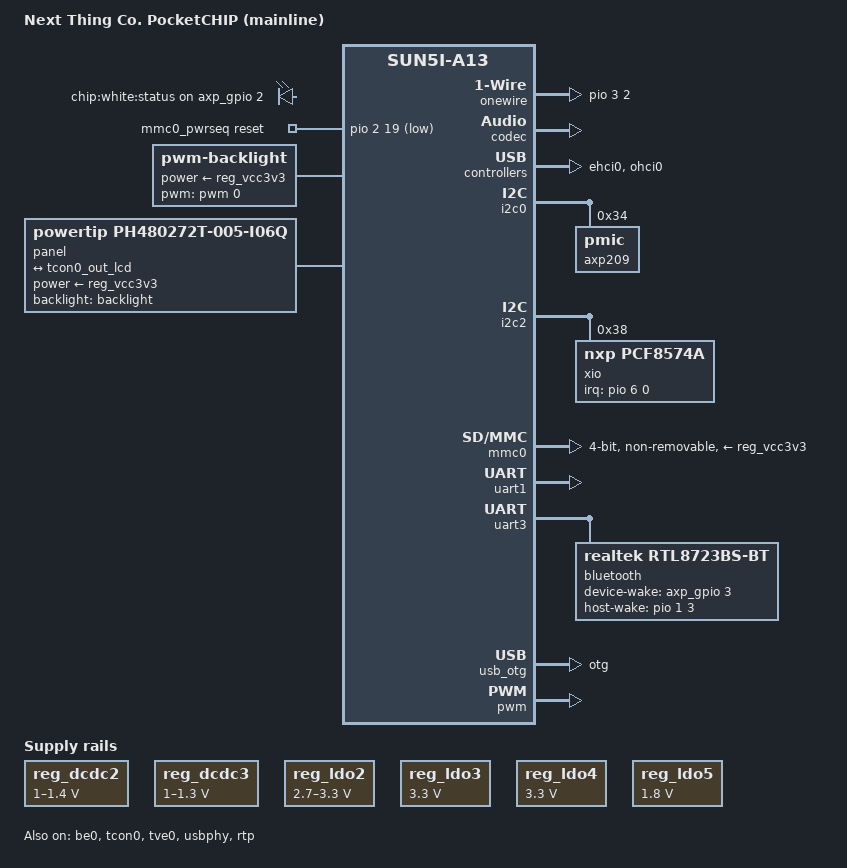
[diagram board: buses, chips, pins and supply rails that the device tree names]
// SPDX-License-Identifier: GPL-2.0+ OR X11
/*
 * Device tree for the Next Thing Co. PocketCHIP handheld.
 *
 * Derived from arch/arm/boot/dts/allwinner/sun5i-r8-chip.dts (mainline)
 * with the PocketCHIP daughterboard additions appended below the line
 * marked "PocketCHIP daughterboard". The chip.dts content is inlined
 * rather than included, because chip.dts is itself a board-level .dts
 * (with /dts-v1/; and C-preprocessor #includes) and is not directly
 * reusable as a fragment.
 *
 * Daughterboard adds:
 *   - 4.3" 480x272 parallel RGB LCD with resistive touch
 *   - PWM backlight on PB2
 *   - QWERTY keyboard matrix (wiring TODO; see comment below)
 *
 * Composite TV-out via the TRRS jack stays available (chip.dts already
 * enables tve0). LCD and TVE share TCON0 channels but expose separate
 * DRM connectors, so userspace picks which output is active.
 *
 * Audio (sun4i-codec) and WiFi/BT (RTL8723BS) are already wired up in
 * chip.dts; we just inherit them.
 *
 * Note: the R8 only routes 18-bit (RGB666) LCD pins externally, so the
 * panel runs 6 bits per channel even though the screen is 24-bit
 * capable. At 4.3" the difference is invisible.
 */

/dts-v1/;
#include "sun5i-r8.dtsi"
#include "sunxi-common-regulators.dtsi"

#include <dt-bindings/gpio/gpio.h>
#include <dt-bindings/interrupt-controller/irq.h>

/ {
	model = "Next Thing Co. PocketCHIP (mainline)";
	compatible = "nextthing,pocketchip", "nextthing,chip",
		     "allwinner,sun5i-r8", "allwinner,sun5i-a13";

	aliases {
		i2c0 = &i2c0;
		i2c1 = &i2c1;
		i2c2 = &i2c2;
		serial0 = &uart1;
		serial1 = &uart3;
		spi0 = &spi2;
	};

	chosen {
		/*
		 * Two parallel kernel consoles:
		 *   tty0    -> LCD framebuffer (visible after DRM brings up the panel)
		 *   ttyGS0  -> USB CDC-ACM gadget over the OTG port. When you plug
		 *              the PocketCHIP into a host machine it shows up as
		 *              /dev/cu.usbmodem* (macOS) or /dev/ttyACM* (Linux).
		 * serial0 (UART1) is still the bootloader/early-debug console if
		 * a 3.3 V USB-UART dongle is wired up to the test points.
		 */
		stdout-path = "serial0:115200n8";
		bootargs = "console=tty0 console=ttyGS0,115200 root=/dev/ram0 rw rootwait loglevel=4 panic=10";
	};

	leds {
		compatible = "gpio-leds";

		led-0 {
			label = "chip:white:status";
			gpios = <&axp_gpio 2 GPIO_ACTIVE_HIGH>;
			default-state = "on";
		};
	};

	mmc0_pwrseq: pwrseq {
		compatible = "mmc-pwrseq-simple";
		reset-gpios = <&pio 2 19 GPIO_ACTIVE_LOW>; /* PC19 */
	};

	onewire {
		compatible = "w1-gpio";
		gpios = <&pio 3 2 (GPIO_ACTIVE_HIGH | GPIO_PULL_UP)>; /* PD2 */
	};

	/* ===== PocketCHIP daughterboard ===== */

	backlight: backlight {
		compatible = "pwm-backlight";
		pwms = <&pwm 0 50000 0>;          /* 20 kHz */
		brightness-levels = <0 16 32 48 64 80 96 112 128 160 192 224 255>;
		default-brightness-level = <8>;
		power-supply = <&reg_vcc3v3>;
	};

	panel: panel {
		/*
		 * Generic 4.3" 480x272 parallel-RGB panel. NTC used a
		 * Powertip-class display; the timings here are the
		 * community-known-good baseline. If colors look smeared
		 * or the picture wobbles, the first thing to revisit is
		 * the pixelclk-active polarity, not the porch values.
		 */
		compatible = "powertip,ph480272t-005-i06q", "simple-panel";
		backlight = <&backlight>;
		power-supply = <&reg_vcc3v3>;

		panel-timing {
			clock-frequency = <9000000>;
			hactive = <480>;
			vactive = <272>;
			hfront-porch = <2>;
			hback-porch = <2>;
			hsync-len = <41>;
			vfront-porch = <2>;
			vback-porch = <2>;
			vsync-len = <10>;
			hsync-active = <0>;
			vsync-active = <0>;
			de-active = <1>;
			pixelclk-active = <1>;
		};

		port {
			panel_in: endpoint {
				remote-endpoint = <&tcon0_out_lcd>;
			};
		};
	};
};

&be0 {
	status = "okay";
};

&codec {
	status = "okay";
};

&cpu0 {
	cpu-supply = <&reg_dcdc2>;
};

&ehci0 {
	status = "okay";
};

&i2c0 {
	status = "okay";

	axp209: pmic@34 {
		reg = <0x34>;
		interrupts = <0>;
	};
};

#include "axp209.dtsi"

&ac_power_supply {
	status = "okay";
};

&battery_power_supply {
	status = "okay";
};

&i2c1 {
	status = "disabled";
};

&i2c2 {
	status = "okay";

	xio: gpio@38 {
		compatible = "nxp,pcf8574a";
		reg = <0x38>;

		gpio-controller;
		#gpio-cells = <2>;

		interrupt-parent = <&pio>;
		interrupts = <6 0 IRQ_TYPE_EDGE_FALLING>;
		interrupt-controller;
		#interrupt-cells = <2>;
	};
};

&mmc0_pins {
	bias-pull-up;
};

&mmc0 {
	vmmc-supply = <&reg_vcc3v3>;
	mmc-pwrseq = <&mmc0_pwrseq>;
	bus-width = <4>;
	non-removable;
	status = "okay";
};

&ohci0 {
	status = "okay";
};

&otg_sram {
	status = "okay";
};

&reg_dcdc2 {
	regulator-min-microvolt = <1000000>;
	regulator-max-microvolt = <1400000>;
	regulator-name = "cpuvdd";
	regulator-always-on;
};

&reg_dcdc3 {
	regulator-min-microvolt = <1000000>;
	regulator-max-microvolt = <1300000>;
	regulator-name = "corevdd";
	regulator-always-on;
};

&reg_ldo1 {
	regulator-name = "rtcvdd";
};

&reg_ldo2 {
	regulator-min-microvolt = <2700000>;
	regulator-max-microvolt = <3300000>;
	regulator-name = "avcc";
	regulator-always-on;
};

/* LDO3 + LDO4 power the WiFi/BT chip; both required. */
&reg_ldo3 {
	regulator-min-microvolt = <3300000>;
	regulator-max-microvolt = <3300000>;
	regulator-name = "vcc-wifi-1";
	regulator-always-on;
};

&reg_ldo4 {
	regulator-min-microvolt = <3300000>;
	regulator-max-microvolt = <3300000>;
	regulator-name = "vcc-wifi-2";
	regulator-always-on;
};

&reg_ldo5 {
	regulator-min-microvolt = <1800000>;
	regulator-max-microvolt = <1800000>;
	regulator-name = "vcc-1v8";
};

&reg_usb0_vbus {
	vin-supply = <&reg_vcc5v0>;
	gpio = <&pio 1 10 GPIO_ACTIVE_HIGH>; /* PB10 */
	status = "okay";
};

&spi2 {
	pinctrl-names = "default";
	pinctrl-0 = <&spi2_pe_pins>;
	status = "disabled";
};

/*
 * LCD wiring: TCON0's RGB output is endpoint@0 (channel 0). The TVE
 * (composite) endpoint@1 is already declared in the SoC dtsi; both
 * coexist so DRM can switch between LCD and composite at runtime.
 */
&tcon0 {
	pinctrl-names = "default";
	pinctrl-0 = <&lcd_rgb666_pins>;
	status = "okay";

	ports {
		port@1 {
			tcon0_out_lcd: endpoint@0 {
				reg = <0>;
				allwinner,tcon-channel = <0>;
				remote-endpoint = <&panel_in>;
			};
		};
	};
};

&tve0 {
	status = "okay";
};

&uart1 {
	pinctrl-names = "default";
	pinctrl-0 = <&uart1_pg_pins>;
	status = "okay";
};

&uart3 {
	pinctrl-names = "default";
	pinctrl-0 = <&uart3_pg_pins>,
		    <&uart3_cts_rts_pg_pins>;
	status = "okay";

	bluetooth {
		compatible = "realtek,rtl8723bs-bt";
		device-wake-gpios = <&axp_gpio 3 GPIO_ACTIVE_HIGH>;
		host-wake-gpios = <&pio 1 3 GPIO_ACTIVE_HIGH>; /* PB3 */
	};
};

/*
 * USB OTG: leave as 'otg' (matches mainline chip.dts and the only
 * known-working community PocketCHIP DT, macromorgan/chip-debroot).
 * Forcing dr_mode = "peripheral" boots on kernel 6.6 but breaks on
 * 6.12 -- the musb-sunxi driver in 6.12 stops enumerating in
 * peripheral mode when ID GPIO is also declared in &usbphy. Stick
 * with OTG and let the kernel detect mode via ID GPIO on PG2; when
 * a USB host (the Mac) is attached, VBUS comes from the host and ID
 * floats high, which the driver reads as peripheral mode.
 */
&usb_otg {
	dr_mode = "otg";
	status = "okay";
};

&usb_power_supply {
	status = "okay";
};

&usbphy {
	status = "okay";

	usb0_id_det-gpios = <&pio 6 2 GPIO_ACTIVE_HIGH>; /* PG2 */
	usb0_vbus_power-supply = <&usb_power_supply>;
	usb0_vbus-supply = <&reg_usb0_vbus>;
	usb1_vbus-supply = <&reg_vcc5v0>;
};

/* PWM0 on PB2 drives the LCD backlight. */
&pwm {
	pinctrl-names = "default";
	pinctrl-0 = <&pwm0_pin>;
	status = "okay";
};

/*
 * Resistive touchscreen — the R8's integrated RTP controller does the
 * 4-wire ADC sampling. The sun4i-ts driver binds this node directly.
 */
&rtp {
	allwinner,ts-attached;
	status = "okay";
};

/* TODO: keyboard matrix.
 *
 * The QWERTY keyboard rows/cols sit on a mix of pins (parts of the CSI
 * bank on PE, plus the PCF8574A I2C expander 'xio' on i2c2 @ 0x38).
 * Exact mapping varies across PocketCHIP revisions; needs a multimeter
 * check on the actual board before claiming pins, otherwise we risk
 * pinmux conflicts with the LCD or USB and lock the board up.
 *
 * Power button via the AXP209 PEK (axp20x-pek driver) is already a
 * working input device, so we are not totally without input on first
 * boot.
 */
